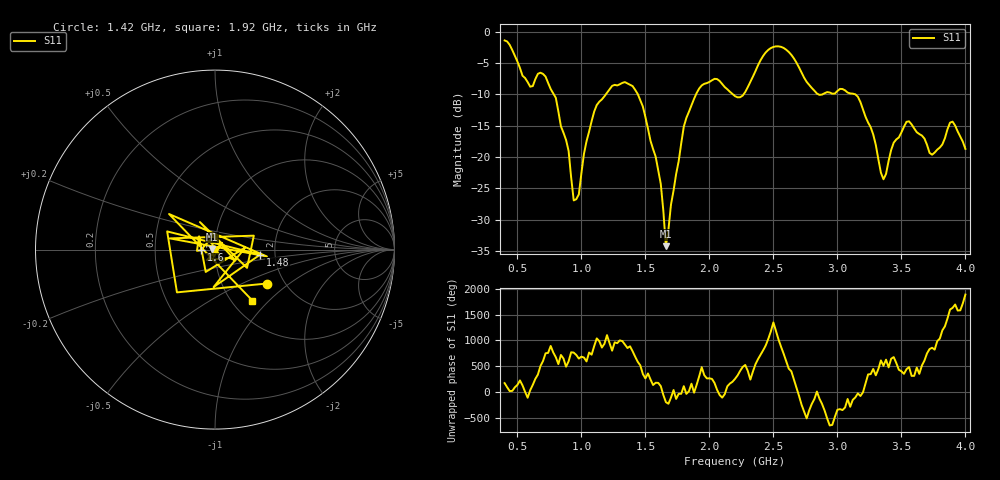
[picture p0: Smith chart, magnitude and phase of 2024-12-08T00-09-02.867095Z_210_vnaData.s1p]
!Created with skrf (http://scikit-rf.org).
# Hz S RI R 50.0
!freq ReS11 ImS11
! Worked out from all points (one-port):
!   181 points, 400 MHz to 4 GHz, reference 50 ohm
!   lowest |S11| = -34.2 dB at 1.66 GHz (marker M1), VSWR 1.04, Z = 48.1 + j0.323 ohm
!   |S11| at or under -10 dB: 784.7 MHz to 1.191 GHz (405.8 MHz wide, 41.1 % of centre); 1.442 GHz to 1.895 GHz (453.8 MHz wide, 27.2 % of centre); 3.141 GHz to end of sweep (the widest 3 of 5)
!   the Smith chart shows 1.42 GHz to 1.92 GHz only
!   S11 on the Smith chart (normalised r, x): 1.42 GHz: 1.62, -0.70; 1.48 GHz: 1.67, -0.10; 1.6 GHz: 0.85, -0.01; 1.92 GHz: 1.24, -0.80
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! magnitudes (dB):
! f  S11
! 400 MHz  -1.4
! 600 MHz  -8.8
! 720 MHz  -7.1
! 860 MHz  -16.1
! 900 MHz  -19.0
! 940 MHz  -26.9
! 960 MHz  -26.7
! 1.1 GHz  -12.7
! 1.3 GHz  -8.4
! 1.42 GHz  -9.3
! 1.48 GHz  -11.9
! 1.6 GHz  -22.1
! 1.66 GHz  -34.2
! 1.76 GHz  -20.7
! 1.8 GHz  -15.1
! 1.92 GHz  -9.1
! 2.2 GHz  -10.3
! 2.48 GHz  -2.6
! 2.66 GHz  -4.2
! 2.84 GHz  -9.8
! 3.1 GHz  -9.8
! 3.26 GHz  -15.2
! 3.36 GHz  -23.5
! 3.44 GHz  -17.7
! 3.56 GHz  -14.3
! 3.74 GHz  -19.6
! 3.9 GHz  -14.3
! 4 GHz  -18.7
